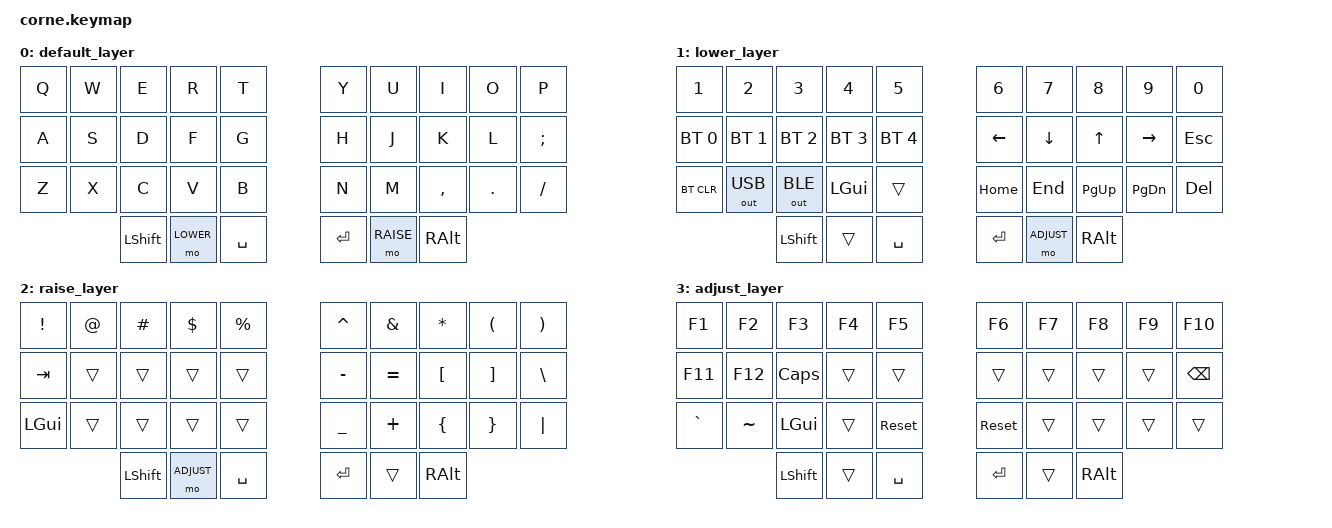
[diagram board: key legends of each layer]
/*
 * Copyright (c) 2020 The ZMK Contributors
 *
 * SPDX-License-Identifier: MIT
 */

#include <behaviors.dtsi>
#include <dt-bindings/zmk/keys.h>
#include <dt-bindings/zmk/bt.h>
#include <dt-bindings/zmk/outputs.h>

/ {
    // Layer definitions
    #define DEFAULT 0
    #define LOWER   1
    #define RAISE   2
    #define ADJUST  3

    behaviors {
        td0: tap_dance_0 {
            compatible = "zmk,behavior-tap-dance";
            #binding-cells = <0>;
            tapping-term-ms = <200>;
            bindings = <&kp ESC>, <&kp TAB>;
        };
    };

    combos {
        compatible = "zmk,combos";
        combo_esc {
            timeout-ms = <50>;
            key-positions = <0 1>;
            bindings = <&kp ESC>;
        };
        
        combo_adjust {
            timeout-ms = <50>;
            key-positions = <30 35>;
            bindings = <&mo ADJUST>;
        };
    };

    keymap {
        compatible = "zmk,keymap";

        default_layer {
            // -----------------------------------------------------------------------------------------
            // |  Q  |  W  |  E  |  R  |  T  |   |  Y  |  U   |  I  |  O  |  P  |
            // |  A  |  S  |  D  |  F  |  G  |   |  H  |  J   |  K  |  L  |  ;  |
            // |  Z  |  X  |  C  |  V  |  B  |   |  N  |  M   |  ,  |  .  |  /  |
            //             | SHFT| LWR | SPC |   | ENT | RSE  | ALT |

            bindings = <
                &kp Q    &kp W    &kp E     &kp R     &kp T      &kp Y     &kp U     &kp I     &kp O     &kp P    
                &kp A    &kp S    &kp D     &kp F     &kp G      &kp H     &kp J     &kp K     &kp L     &kp SEMI 
                &kp Z    &kp X    &kp C     &kp V     &kp B      &kp N     &kp M     &kp COMMA &kp DOT   &kp FSLH 
                         &kp LSHFT &mo LOWER &kp SPACE  &kp RET   &mo RAISE &kp RALT
            >;
        };

        lower_layer {
            // -----------------------------------------------------------------------------------------
            // |  1  |  2  |  3  |  4  |  5  |   |  6  |  7  |  8  |  9  |  0  |
            // | BT1 | BT2 | BT3 | BT4 | BT5 |   | LFT | DWN |  UP | RGT |     |
            // |BTCLR| USB | BLE |     |     |   | HOME| END | PGUP| PGDN| DEL |
            //             | SHFT|     | SPC |   | ENT |     | ALT |

            bindings = <
                &kp N1       &kp N2       &kp N3       &kp N4       &kp N5         &kp N6   &kp N7   &kp N8   &kp N9    &kp N0  
                &bt BT_SEL 0 &bt BT_SEL 1 &bt BT_SEL 2 &bt BT_SEL 3 &bt BT_SEL 4   &kp LEFT &kp DOWN &kp UP   &kp RIGHT &kp ESC
                &bt BT_CLR   &out OUT_USB &out OUT_BLE &kp LGUI     &trans         &kp HOME &kp END  &kp PG_UP &kp PG_DN &kp DEL
                             &kp LSHFT    &trans       &kp SPACE    &kp RET  &mo ADJUST &kp RALT
            >;
        };

        raise_layer {
            // -----------------------------------------------------------------------------------------
            // |  !  |  @  |  #  |  $  |  %  |   |  ^  |  &  |  *  |  (  |  )  |
            // | TAB |     |     |     |     |   |  -  |  =  |  [  |  ]  |  \  |
            // | LGUI|     |     |     |     |   |  _  |  +  |  {  |  }  | "|" |
            //             | SHFT|     | SPC |   | ENT |     | ALT |

            bindings = <
                &kp EXCL  &kp AT    &kp HASH  &kp DLLR  &kp PRCNT   &kp CARET &kp AMPS  &kp ASTRK &kp LPAR &kp RPAR
                &kp TAB   &trans    &trans    &trans    &trans      &kp MINUS &kp EQUAL &kp LBKT  &kp RBKT &kp BSLH
                &kp LGUI  &trans    &trans    &trans    &trans      &kp UNDER &kp PLUS  &kp LBRC  &kp RBRC &kp PIPE
                          &kp LSHFT &mo ADJUST &kp SPACE &kp RET    &trans    &kp RALT
            >;
        };

        adjust_layer {
            // -----------------------------------------------------------------------------------------
            // |  F1 |  F2 |  F3 |  F4 |  F5 |   |  F6 |  F7 |  F8 |  F9 | F10 |
            // | F11 | F12 | CAPS|     |     |   |     |     |     |     | BKSP|
            // |GRAVE| TILD| LGUI|     |RESET|   |RESET|     |     |     |     |
            //             | SHFT|     | SPC |   | ENT |     | ALT |

            bindings = <
                &kp F1     &kp F2     &kp F3     &kp F4     &kp F5       &kp F6     &kp F7     &kp F8     &kp F9    &kp F10
                &kp F11    &kp F12    &kp CAPS   &trans     &trans       &trans     &trans     &trans     &trans    &kp BSPC
                &kp GRAVE  &kp TILDE  &kp LGUI   &trans     &sys_reset   &sys_reset &trans     &trans     &trans    &trans
                           &kp LSHFT  &trans     &kp SPACE  &kp RET      &trans     &kp RALT
            >;
        };
    };
};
